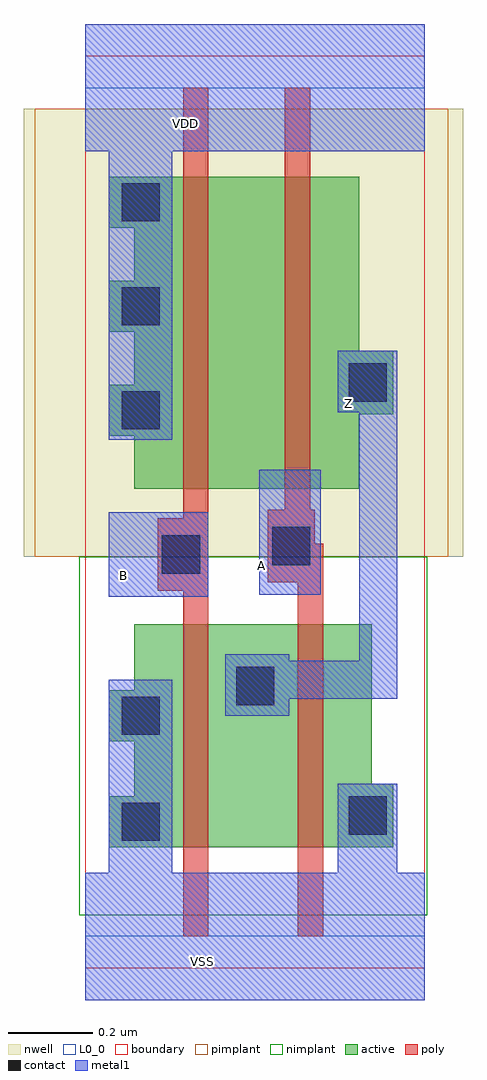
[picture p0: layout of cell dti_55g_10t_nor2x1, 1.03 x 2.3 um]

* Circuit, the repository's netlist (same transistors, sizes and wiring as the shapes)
*##########################################################################################
* Copyright (c) 2023 Dolphin Technology, Inc.
* This netlist is proprietary and confidential information of
* Dolphin Technology, Inc. and can only be used or viewed
* under license or with written permission from Dolphin Technology, Inc.
*##########################################################################################
* /data/projects/stdcells/scripts_svn_update_flow/Update_property_flow/lvsNetlist.pl -c dti_55g_10t_nor2x1 -p /data/projects/stdcells/scripts_svn_update_flow/Update_property_flow/params/params55.sp -s netlist -d lvs -nglob
* dt35-linux:/data/projects/stdcells/REPOSITORY_RV003/ckt/tsmc55 
* dti_55g_10t_nor2x1.ckt generated on 6/5/2023 at 10:3:45
*##########################################################################################
* Dependencies
*##########################################################################################

.param wnd=1u wpd=1u

.option scale=1

.global vdd vss vddps vddcs
* DAMN, don't know where the cell is 
.subckt dti_55g_10t_nor2x1 VDD VSS A B Z
mp1 Z A N1N71 VDD pch l=0.06u w=0.735u
mn1 Z A VSS VSS nch l=0.06u w=0.525u
mn2 Z B VSS VSS nch l=0.06u w=0.525u
mp2 N1N71 B VDD VDD pch l=0.06u w=0.735u
.ends

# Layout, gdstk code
from math import pi, radians
import gdstk
lib = gdstk.Library(unit=1e-6, precision=1e-09)
def R(c, l, rs):  # rectangles x0, y0, x1, y1
    for r in rs: c.add(gdstk.rectangle(r[:2], r[2:], *l))
L0_0 = (0, 0)
nwell = (3, 0)
active = (6, 0)
poly = (17, 0)
pimplant = (25, 0)
nimplant = (26, 0)
contact = (30, 0)
metal1 = (31, 0)
boundary = (108, 0)
L923_0 = (923, 0)

template_55g_10t = lib.new_cell('template_55g_10t')
R(template_55g_10t, metal1, [(0,-0.15,0.2,0.15), (0,1.85,0.2,2.15)])
template_55g_10t.add(gdstk.FlexPath([(0.2,0.21),(0,0.21)], 0, ends="flush", simple_path=True, layer=923, datatype=0))  # L923_0
template_55g_10t.add(gdstk.FlexPath([(0.2,0.735),(0,0.735)], 0, ends="flush", simple_path=True, layer=923, datatype=0))  # L923_0
template_55g_10t.add(gdstk.FlexPath([(0.2,0.895),(0,0.895)], 0, ends="flush", simple_path=True, layer=923, datatype=0))  # L923_0
template_55g_10t.add(gdstk.FlexPath([(0.2,1.055),(0,1.055)], 0, ends="flush", simple_path=True, layer=923, datatype=0))  # L923_0
template_55g_10t.add(gdstk.FlexPath([(0.2,1.79),(0,1.79)], 0, ends="flush", simple_path=True, layer=923, datatype=0))  # L923_0

cellgrid_nom2 = lib.new_cell('cellgrid_noM2')
R(cellgrid_nom2, L0_0, [(0,0,0.2,0.2)])
cellgrid_nom2.add(gdstk.FlexPath([(0.2,0),(0,0.2)], 0, ends="flush", simple_path=True, layer=0, datatype=0))  # L0_0
cellgrid_nom2.add(gdstk.FlexPath([(0.2,0.2),(0,0)], 0, ends="flush", simple_path=True, layer=0, datatype=0))  # L0_0

pmos_735_n_2 = lib.new_cell('pmos_735_n_2')
R(pmos_735_n_2, nwell, [(-0.275,-0.16,0.335,0.895)])
R(pmos_735_n_2, active, [(-0.115,0,0.175,0.735)])
R(pmos_735_n_2, poly, [(0,-0.14,0.06,0.875)])
R(pmos_735_n_2, pimplant, [(-0.245,-0.16,0.305,0.895)])

nmos_525_n_2 = lib.new_cell('nmos_525_n_2')
R(nmos_525_n_2, active, [(-0.115,0,0.175,0.525)])
R(nmos_525_n_2, poly, [(0,-0.14,0.06,0.665)])
R(nmos_525_n_2, nimplant, [(-0.245,-0.16,0.305,0.685)])

cnt_n = lib.new_cell('cnt_n')
R(cnt_n, active, [(-0.06,-0.075,0.06,0.075)])
R(cnt_n, contact, [(-0.045,-0.045,0.045,0.045)])
R(cnt_n, metal1, [(-0.045,-0.045,0.045,0.045)])

cnt = lib.new_cell('cnt')
R(cnt, contact, [(-0.045,-0.045,0.045,0.045)])
R(cnt, metal1, [(-0.045,-0.045,0.045,0.045)])

pcnt_v = lib.new_cell('pcnt_v')
R(pcnt_v, poly, [(-0.055,-0.085,0.055,0.085)])
pcnt_v.add(gdstk.Reference(cnt, (0,0)))

dti_55g_10t_nor2x1 = lib.new_cell('dti_55g_10t_nor2x1')
R(dti_55g_10t_nor2x1, nwell, [(-0.145,0.895,0.89,1.95)])
R(dti_55g_10t_nor2x1, poly, [(0.23,0,0.29,0.07), (0.5,0,0.56,0.07), (0.23,0.875,0.29,0.915), (0.47,0.875,0.56,0.925), (0.23,1.93,0.29,2), (0.47,1.93,0.53,2)])
R(dti_55g_10t_nor2x1, pimplant, [(-0.12,0.895,0.855,1.95)])
R(dti_55g_10t_nor2x1, metal1, [(0.055,0.15,0.205,0.605), (0.595,0.15,0.735,0.36), (0.33,0.52,0.48,0.665), (0.48,0.56,0.735,0.65), (0.645,0.65,0.735,1.235), (0.055,0.8,0.29,1), (0.41,0.805,0.555,1.1), (0.055,1.17,0.205,1.85), (0.595,1.235,0.735,1.38)])
R(dti_55g_10t_nor2x1, boundary, [(0,-0.075,0.8,2.075)])
r = gdstk.Reference(template_55g_10t, (0,0)); r.repetition = gdstk.Repetition(4, 1, v1=(0.2,0), v2=(0,0)); dti_55g_10t_nor2x1.add(r)
r = gdstk.Reference(cellgrid_nom2, (0,0)); r.repetition = gdstk.Repetition(4, 10, v1=(0.2,0), v2=(0,0.2)); dti_55g_10t_nor2x1.add(r)
dti_55g_10t_nor2x1.add(gdstk.Reference(pmos_735_n_2, (0.23,1.055)))
dti_55g_10t_nor2x1.add(gdstk.Reference(pmos_735_n_2, (0.47,1.055)))
dti_55g_10t_nor2x1.add(gdstk.Reference(nmos_525_n_2, (0.23,0.21)))
dti_55g_10t_nor2x1.add(gdstk.Reference(nmos_525_n_2, (0.5,0.21)))
dti_55g_10t_nor2x1.add(gdstk.Reference(cnt_n, (0.13,1.73), rotation=pi/2))
dti_55g_10t_nor2x1.add(gdstk.Reference(cnt_n, (0.13,1.485), rotation=pi/2))
dti_55g_10t_nor2x1.add(gdstk.Reference(cnt_n, (0.13,1.24), rotation=pi/2))
dti_55g_10t_nor2x1.add(gdstk.Reference(cnt_n, (0.13,0.27), rotation=pi/2))
dti_55g_10t_nor2x1.add(gdstk.Reference(cnt_n, (0.13,0.52), rotation=pi/2))
dti_55g_10t_nor2x1.add(gdstk.Reference(cnt_n, (0.665,0.285), rotation=pi))
dti_55g_10t_nor2x1.add(gdstk.Reference(cnt_n, (0.4,0.59), rotation=pi))
dti_55g_10t_nor2x1.add(gdstk.Reference(cnt_n, (0.665,1.305), rotation=pi))
dti_55g_10t_nor2x1.add(gdstk.Reference(pcnt_v, (0.225,0.9), rotation=pi))
dti_55g_10t_nor2x1.add(gdstk.Reference(pcnt_v, (0.485,0.92)))
dti_55g_10t_nor2x1.add(gdstk.Label('Z', (0.62,1.255), layer=131, texttype=0))
dti_55g_10t_nor2x1.add(gdstk.Label('VDD', (0.235,1.915), layer=131, texttype=0))
dti_55g_10t_nor2x1.add(gdstk.Label('VSS', (0.275,-0.06), layer=131, texttype=0))
dti_55g_10t_nor2x1.add(gdstk.Label('A', (0.415,0.875), layer=131, texttype=0))
dti_55g_10t_nor2x1.add(gdstk.Label('B', (0.09,0.85), layer=131, texttype=0))

lib.write_gds('dti_55g_10t_nor2x1.gds')
